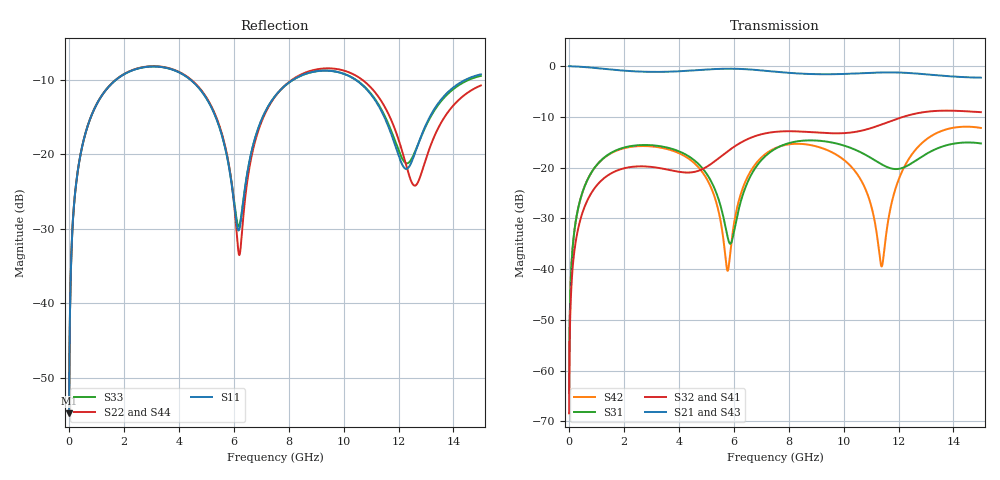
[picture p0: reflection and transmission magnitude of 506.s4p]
! Created with skrf 1.8.0 (http://scikit-rf.org).
# GHz S RI R 50.0
!freq ReS11 ImS11 ReS12 ImS12 ReS13 ImS13
! ReS14 ImS14
! ReS21 ImS21 ReS22 ImS22 ReS23 ImS23
! ReS24 ImS24
! ReS31 ImS31 ReS32 ImS32 ReS33 ImS33
! ReS34 ImS34
! ReS41 ImS41 ReS42 ImS42 ReS43 ImS43
! ReS44 ImS44
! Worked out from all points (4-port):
!   2499 points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, 5 MHz to 15 GHz, reference 50 ohm
!   strongest paths, dB at 5 MHz, 3.476 GHz, 7.19 GHz, 11.1 GHz, 15 GHz:
!     S21: 0.0, -1.1, -0.9, -1.3, -2.3
!     S43: 0.0, -1.1, -0.9, -1.3, -2.3
!     S32: -68.4, -20.3, -13.2, -12.0, -9.1
!     S41: -68.4, -20.4, -13.2, -12.1, -9.2
!     S31: -64.4, -15.9, -17.6, -18.4, -15.2
!     S42: -64.4, -16.2, -17.2, -29.6, -12.2
!   lowest |S11| = -54.8 dB at 5 MHz (marker M1), VSWR 1.00, Z = 50.1 + j0.11 ohm
!   |S11| at or under -10 dB: start of sweep to 1.706 GHz; 4.433 GHz to 8.15 GHz (3.717 GHz wide, 59.1 % of centre); 10.44 GHz to 14.43 GHz (3.992 GHz wide, 32.1 % of centre)
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0.005  0.00145 0.0011  0.9985 -0.00282  7.32e-05 0.0006  -7.09e-05 -0.000372
       0.9985 -0.00282  0.00145 0.0011  -7.09e-05 -0.000372  7.31e-05 0.0006
       7.32e-05 0.0006  -7.09e-05 -0.000372  0.00145 0.0011  0.9985 -0.00282
       -7.09e-05 -0.000372  7.31e-05 0.0006  0.9985 -0.00282  0.00145 0.0011
0.3626511  0.0244 0.0834  0.9663 -0.2031  0.0121 0.0412  -0.00983 -0.0252
           0.9663 -0.2031  0.0245 0.0834  -0.00984 -0.0252  0.0117 0.0413
           0.0121 0.0412  -0.00984 -0.0252  0.0244 0.0834  0.9663 -0.2031
           -0.00983 -0.0252  0.0117 0.0413  0.9663 -0.2031  0.0245 0.0833
1.619545  0.2438 0.1855  0.6011 -0.6972  0.1266 0.0683  -0.0887 -0.0148
          0.6011 -0.6972  0.2454 0.1846  -0.089 -0.0146  0.121 0.0748
          0.1266 0.0683  -0.089 -0.0146  0.2437 0.1857  0.601 -0.6973
          -0.0887 -0.0148  0.121 0.0748  0.601 -0.6973  0.2456 0.1846
6.202584  0.031 0.00465  -0.9368 -0.0608  -0.00577 0.0405  -0.00907 0.1726
          -0.9368 -0.0608  0.021 -0.000746  -0.00348 0.1728  0.0176 0.0458
          -0.00577 0.0405  -0.00348 0.1728  0.033 0.00381  -0.9368 -0.0608
          -0.00907 0.1726  0.0176 0.0458  -0.9368 -0.0608  0.0193 -0.00134
9.635265  0.3599 -0.0341  0.0122 0.8321  0.124 -0.1239  0.2069 -0.0567
          0.0122 0.8321  0.3744 -0.041  0.2066 -0.068  0.1276 -0.0547
          0.124 -0.1239  0.2066 -0.068  0.3601 -0.0325  0.013 0.8313
          0.2069 -0.0567  0.1276 -0.0547  0.013 0.8313  0.3776 -0.0427
11.38599  0.1486 -0.1246  0.6606 0.5593  -0.0758 -0.0764  0.1722 -0.2023
          0.6606 0.5593  0.1563 -0.1633  0.159 -0.2133  0.0102 0.00291
          -0.0758 -0.0764  0.159 -0.2133  0.155 -0.1244  0.6601 0.5584
          0.1722 -0.2023  0.0102 0.00291  0.6601 0.5584  0.1564 -0.1682
15  0.341 0.0496  0.3632 -0.6782  0.1727 -0.0118  -0.33 -0.1071
    0.3632 -0.6782  0.2794 0.0784  -0.3416 -0.0834  0.2346 -0.0733
    0.1727 -0.0118  -0.3416 -0.0834  0.3336 0.0458  0.3613 -0.6803
    -0.33 -0.1071  0.2346 -0.0733  0.3613 -0.6803  0.2836 0.0746
